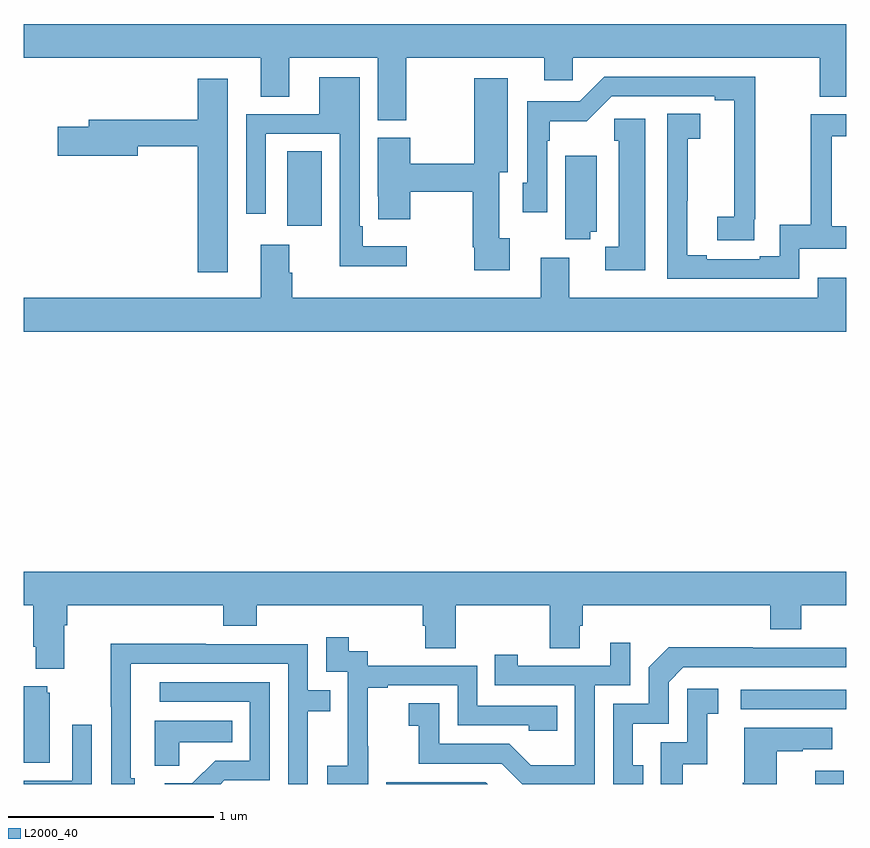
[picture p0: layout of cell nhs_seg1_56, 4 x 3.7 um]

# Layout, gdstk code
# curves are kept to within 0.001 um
import gdstk
lib = gdstk.Library(unit=1e-6, precision=1e-09)
def R(c, l, rs):  # rectangles x0, y0, x1, y1
    for r in rs: c.add(gdstk.rectangle(r[:2], r[2:], *l))
def P(c, l, *ps):  # polygons
    for p in ps: c.add(gdstk.Polygon(p, *l))
L2000_40 = (2000, 40)

nhs_seg1_56 = lib.new_cell('nhs_seg1_56')
R(nhs_seg1_56, L2000_40, [(116.849,548.199,116.989,548.263), (116.487,548.562,117,548.658), (114.281,550.914,114.448,551.276)])
P(nhs_seg1_56, L2000_40, [(114.861,551.732),(115.532,551.732),(115.532,551.622),(115.671,551.622),(115.671,551.732),(116.872,551.732),(116.872,551.542),(117,551.542),(117,551.896),(113,551.896),(113,551.732),(114.152,551.732),(114.152,551.542),(114.292,551.542),(114.292,551.732),(114.722,551.732),(114.722,551.428),(114.861,551.428)],
  [(116.552,550.945),(116.558,550.945),(116.558,551.64),(115.824,551.64),(115.704,551.52),(115.449,551.52),(115.449,551.124),(115.428,551.124),(115.428,550.98),(115.545,550.98),(115.545,551.327),(115.558,551.327),(115.558,551.423),(115.739,551.423),(115.86,551.544),(116.36,551.544),(116.36,551.524),(116.456,551.524),(116.455,550.958),(116.373,550.958),(116.373,550.843),(116.552,550.843)],
  [(114.862,550.816),(114.649,550.816),(114.649,550.912),(114.633,550.912),(114.633,551.638),(114.437,551.638),(114.437,551.457),(114.081,551.457),(114.081,550.974),(114.177,550.974),(114.177,551.361),(114.537,551.361),(114.537,550.718),(114.862,550.718)],
  [(115.363,550.854),(115.312,550.854),(115.312,551.174),(115.354,551.174),(115.354,551.632),(115.19,551.632),(115.19,551.216),(114.879,551.216),(114.879,551.343),(114.722,551.343),(114.722,551.059),(114.723,551.059),(114.723,550.947),(114.879,550.947),(114.879,551.08),(115.183,551.08),(115.183,550.81),(115.19,550.81),(115.19,550.698),(115.363,550.698)],
  [(113.992,551.629),(113.846,551.629),(113.846,551.431),(113.315,551.431),(113.315,551.397),(113.166,551.397),(113.166,551.255),(113.554,551.255),(113.554,551.302),(113.846,551.302),(113.846,550.689),(113.992,550.689)],
  [(116.772,550.802),(117,550.802),(117,550.912),(116.93,550.912),(116.93,551.349),(117,551.349),(117,551.457),(116.827,551.457),(116.827,550.919),(116.676,550.919),(116.676,550.766),(116.579,550.766),(116.579,550.752),(116.323,550.752),(116.323,550.772),(116.227,550.772),(116.227,551.035),(116.229,551.035),(116.229,551.339),(116.29,551.339),(116.29,551.459),(116.13,551.459),(116.13,550.656),(116.772,550.656)],
  [(116.023,551.434),(115.873,551.434),(115.873,551.328),(115.895,551.328),(115.895,550.812),(115.827,550.812),(115.827,550.697),(116.023,550.697)],
  [(115.754,550.886),(115.786,550.886),(115.786,551.254),(115.634,551.254),(115.634,550.849),(115.754,550.849)],
  [(117,550.662),(116.861,550.662),(116.861,550.564),(115.654,550.564),(115.654,550.759),(115.514,550.759),(115.514,550.564),(114.305,550.564),(114.305,550.685),(114.292,550.685),(114.292,550.822),(114.152,550.822),(114.152,550.564),(113,550.564),(113,550.4),(117,550.4)],
  [(113.197,548.972),(113.21,548.972),(113.21,549.068),(113.969,549.068),(113.969,548.969),(114.134,548.969),(114.134,549.068),(114.941,549.068),(114.941,548.97),(114.953,548.97),(114.953,548.86),(115.101,548.86),(115.101,549.068),(115.558,549.068),(115.558,548.86),(115.705,548.86),(115.705,548.97),(115.718,548.97),(115.718,549.068),(116.63,549.068),(116.63,548.951),(116.782,548.951),(116.782,549.068),(117,549.068),(117,549.232),(113,549.232),(113,549.068),(113.045,549.068),(113.045,548.866),(113.057,548.866),(113.057,548.759),(113.197,548.759)],
  [(114.675,548.383),(114.674,548.383),(114.674,548.667),(114.769,548.667),(114.769,548.679),(115.11,548.679),(115.11,548.484),(115.455,548.484),(115.455,548.457),(115.595,548.457),(115.595,548.58),(115.206,548.58),(115.206,548.775),(114.672,548.775),(114.672,548.844),(114.58,548.844),(114.58,548.914),(114.471,548.914),(114.471,548.745),(114.576,548.745),(114.576,548.516),(114.575,548.516),(114.575,548.287),(114.477,548.287),(114.477,548.199),(114.675,548.199)],
  [(115.776,548.679),(115.95,548.679),(115.95,548.887),(115.853,548.887),(115.853,548.775),(115.402,548.775),(115.402,548.827),(115.291,548.827),(115.291,548.679),(115.68,548.679),(115.68,548.29),(115.466,548.29),(115.362,548.394),(115.02,548.394),(115.02,548.593),(114.873,548.593),(114.873,548.483),(114.922,548.483),(114.922,548.298),(115.325,548.298),(115.424,548.199),(115.776,548.199)],
  [(113.539,548.226),(113.52,548.226),(113.52,548.784),(114.285,548.784),(114.285,548.199),(114.381,548.199),(114.381,548.554),(114.491,548.554),(114.491,548.655),(114.381,548.655),(114.381,548.88),(113.885,548.88),(113.885,548.882),(113.422,548.882),(113.422,548.575),(113.424,548.575),(113.424,548.199),(113.539,548.199)],
  [(116.012,548.289),(115.963,548.289),(115.963,548.493),(116.136,548.493),(116.136,548.694),(116.208,548.766),(117,548.766),(117,548.862),(116.546,548.862),(116.546,548.864),(116.138,548.864),(116.04,548.766),(116.04,548.589),(115.866,548.589),(115.866,548.199),(116.012,548.199)],
  [(113.976,548.217),(114.195,548.217),(114.195,548.694),(113.661,548.694),(113.661,548.598),(114.099,548.598),(114.099,548.313),(113.93,548.313),(113.819,548.202),(113.685,548.202),(113.685,548.199),(113.958,548.199)],
  [(113.125,548.643),(113.114,548.643),(113.114,548.674),(113,548.674),(113,548.303),(113.125,548.303)],
  [(116.206,548.295),(116.324,548.295),(116.324,548.541),(116.377,548.541),(116.377,548.662),(116.226,548.662),(116.226,548.403),(116.097,548.403),(116.097,548.199),(116.206,548.199)],
  [(113.757,548.402),(114.014,548.402),(114.014,548.506),(113.636,548.506),(113.636,548.287),(113.757,548.287)],
  [(113.331,548.488),(113.235,548.488),(113.235,548.214),(113,548.214),(113,548.199),(113.331,548.199)],
  [(116.662,548.359),(116.789,548.359),(116.789,548.369),(116.932,548.369),(116.932,548.473),(116.504,548.473),(116.504,548.206),(116.497,548.206),(116.497,548.199),(116.662,548.199)],
  [(115.248,548.208),(114.762,548.208),(114.762,548.199),(115.257,548.199)])

lib.write_gds('nhs_seg1_56.gds')
